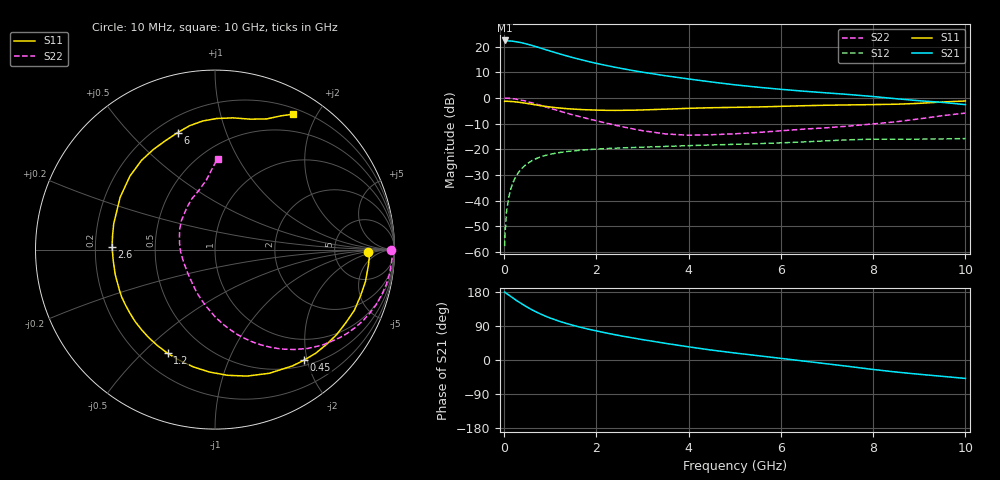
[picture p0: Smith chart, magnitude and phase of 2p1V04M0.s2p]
! (c) 2009  Infineon Technologies AG, Munich
! Infineon Technologies  Discrete & RF Semiconductors
! BFP420
! VCE =  1.0 V,  IC =  4.0 mA
! Common Emitter S-Parameters:  Nov 2009
# GHz  S  MA  R  50
!  f  S11  S21  S12  S22
! GHz  MAG  ANG  MAG  ANG  MAG  ANG  MAG  ANG
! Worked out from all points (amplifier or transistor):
!   46 points, 10 MHz to 10 GHz, reference 50 ohm
!   highest |S21| = 22.4 dB at 10 MHz (marker M1)
!   |S21| within 3 dB of that: start of sweep to 795.7 MHz
!   unconditionally stable (mu >= 1): 3.212 GHz to end of sweep
!   at 300 MHz: K = 0.09, MSG = 25.5 dB, |S12| = -29.3 dB
!   at 1.7 GHz: K = 0.54, MSG = 17.5 dB, |S12| = -20.3 dB
!   at 10 GHz: K = 1.13, MAG = 4.4 dB, |S12| = -15.8 dB
!   lowest NFmin = 0.61 dB at 900 MHz
!   S11 on the Smith chart (normalised r, x): 10 MHz: 13, -1; 450 MHz: 0.59, -1.95; 1.2 GHz: 0.31, -0.60; 2.6 GHz: 0.27, +0.01; 6 GHz: 0.28, +0.69; 10 GHz: 0.27, +1.70
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0.01  0.8543 -0.9  13.12 179.3  0.0013 98.0  0.9831 0.0
0.02  0.861 -2.4  12.79 178.6  0.0023 83.0  0.9878 -1.5
0.05  0.8591 -5.9  12.84 175.7  0.0059 87.3  0.9864 -3.8
0.1  0.857 -11.9  12.87 171.4  0.0117 83.9  0.9823 -7.6
0.25  0.8352 -29.2  12.41 158.5  0.0289 74.4  0.9494 -18.7
0.35  0.8154 -40.4  11.99 150.7  0.0392 68.3  0.914 -25.8
0.45  0.7911 -51.1  11.43 143.1  0.0483 62.8  0.8724 -32.3
0.6  0.7527 -66.3  10.51 132.6  0.0598 55.5  0.8034 -41.3
0.7  0.7272 -75.7  9.887 126.4  0.0661 51.1  0.7564 -46.7
0.9  0.6828 -92.6  8.694 115.5  0.076 44.0  0.6677 -56.1
1.2  0.6353 -114.6  7.199 102.1  0.0863 35.8  0.5542 -68.0
1.4  0.6137 -127.1  6.399 94.7  0.0911 31.7  0.4929 -74.8
1.7  0.5915 -143.4  5.447 85.1  0.0965 26.8  0.4175 -83.9
2.2  0.573 -165.9  4.304 71.6  0.103 20.7  0.3251 -97.8
2.6  0.5737 178.4  3.659 62.2  0.1068 16.9  0.2701 -110.0
3.5  0.6036 151.1  2.696 43.9  0.1137 10.7  0.1988 -141.1
4.5  0.6441 129.4  2.037 26.1  0.1213 5.2  0.192 -176.6
5.5  0.6664 114.7  1.614 11.4  0.1286 0.8  0.2123 159.0
6  0.6842 107.7  1.469 4.3  0.1333 -1.3  0.229 148.7
7  0.7197 95.5  1.249 -10.1  0.1462 -6.8  0.2623 131.0
8.5  0.753 74.8  0.963 -31.8  0.1576 -19.4  0.3431 105.0
10  0.87 60.1  0.74 -48.6  0.1615 -27.3  0.5062 88.4
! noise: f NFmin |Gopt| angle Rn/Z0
0.9  0.61  0.27  32  0.16
1.8  1.03  0.14  83  0.13
2.4  1.11  0.17  110  0.14
3  1.23  0.2  153  0.11
4  1.42  0.31  -151  0.11
5  1.77  0.38  -123  0.23
6  2.35  0.47  -104  0.33
